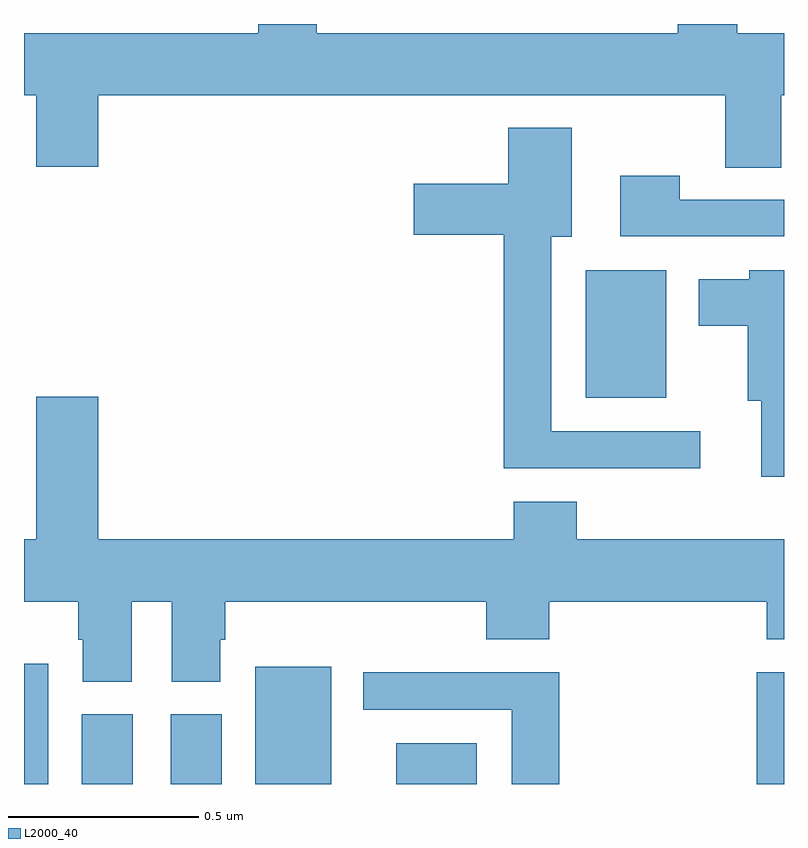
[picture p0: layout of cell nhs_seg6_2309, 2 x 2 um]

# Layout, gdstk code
import gdstk
lib = gdstk.Library(unit=1e-6, precision=1e-09)
def R(c, l, rs):  # rectangles x0, y0, x1, y1
    for r in rs: c.add(gdstk.rectangle(r[:2], r[2:], *l))
def P(c, l, *ps):  # polygons
    for p in ps: c.add(gdstk.Polygon(p, *l))
L2000_40 = (2000, 40)

nhs_seg6_2309 = lib.new_cell('nhs_seg6_2309')
R(nhs_seg6_2309, L2000_40, [(141,969.5,141.064,969.817), (141.152,969.5,141.286,969.684), (141.386,969.5,141.52,969.684), (141.608,969.5,141.808,969.808), (141.98,969.5,142.192,969.607), (142.928,969.5,143,969.794), (142.478,970.517,142.69,970.852)])
P(nhs_seg6_2309, L2000_40, [(142.993,971.312),(143,971.312),(143,971.476),(142.877,971.476),(142.877,971.5),(142.721,971.5),(142.721,971.476),(141.77,971.476),(141.77,971.5),(141.617,971.5),(141.617,971.476),(141,971.476),(141,971.312),(141.032,971.312),(141.032,971.124),(141.196,971.124),(141.196,971.312),(142.846,971.312),(142.846,971.122),(142.993,971.122)],
  [(142.78,970.428),(142.387,970.428),(142.387,970.94),(142.441,970.94),(142.441,971.227),(142.274,971.227),(142.274,971.08),(142.026,971.08),(142.026,970.946),(142.262,970.946),(142.262,970.331),(142.78,970.331)],
  [(143,971.037),(142.725,971.037),(142.725,971.101),(142.569,971.101),(142.569,970.941),(143,970.941)],
  [(143,970.852),(142.908,970.852),(142.908,970.828),(142.775,970.828),(142.775,970.706),(142.904,970.706),(142.904,970.508),(142.94,970.508),(142.94,970.308),(143,970.308)],
  [(142.289,970.243),(142.289,970.144),(141.196,970.144),(141.196,970.519),(141.032,970.519),(141.032,970.144),(141,970.144),(141,969.98),(141.143,969.98),(141.143,969.879),(141.155,969.879),(141.155,969.769),(141.283,969.769),(141.283,969.98),(141.389,969.98),(141.389,969.769),(141.517,969.769),(141.517,969.879),(141.53,969.879),(141.53,969.98),(142.217,969.98),(142.217,969.881),(142.382,969.881),(142.382,969.98),(142.955,969.98),(142.955,969.881),(143,969.881),(143,970.144),(142.454,970.144),(142.454,970.243)],
  [(142.409,969.794),(141.893,969.794),(141.893,969.696),(142.283,969.696),(142.283,969.5),(142.409,969.5)])

lib.write_gds('nhs_seg6_2309.gds')
